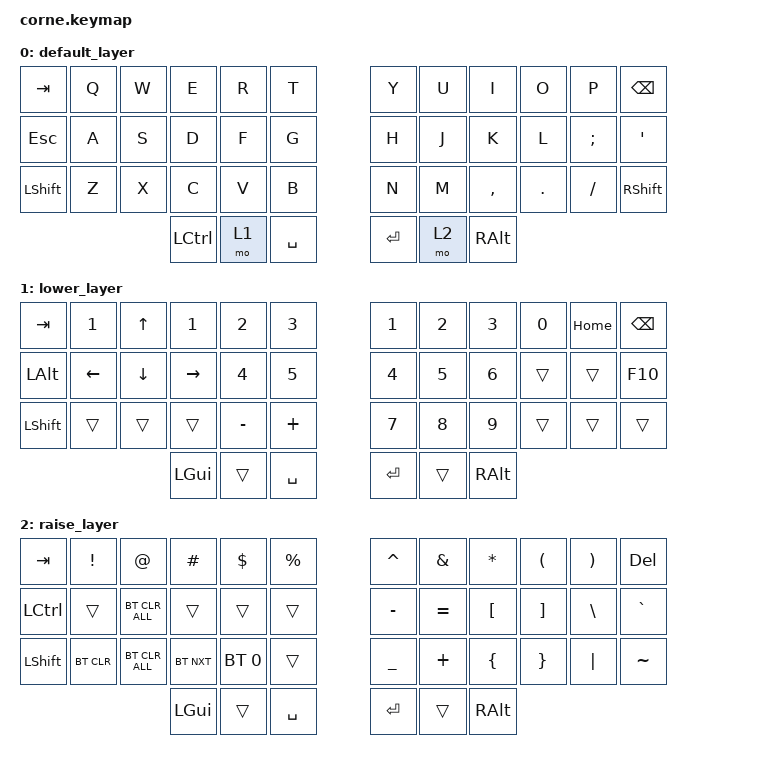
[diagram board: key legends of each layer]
/*
 * Copyright (c) 2020 The ZMK Contributors
 *
 * SPDX-License-Identifier: MIT
 */

#include <behaviors.dtsi>
#include <dt-bindings/zmk/bt.h>
#include <dt-bindings/zmk/keys.h>

/ {
    keymap {
        compatible = "zmk,keymap";

        default_layer {
            // -----------------------------------------------------------------------------------------
            // |  TAB |  Q  |  W  |  E  |  R  |  T  |   |  Y  |  U   |  I  |  O  |  P  | BSPC |
            // | CTRL |  A  |  S  |  D  |  F  |  G  |   |  H  |  J   |  K  |  L  |  ;  |  '   |
            // | SHFT |  Z  |  X  |  C  |  V  |  B  |   |  N  |  M   |  ,  |  .  |  /  | ESC  |
            //                    | GUI | LWR | SPC |   | ENT | RSE  | ALT |

            bindings = <
&kp TAB     &kp Q  &kp W  &kp E      &kp R  &kp T        &kp Y    &kp U  &kp I      &kp O    &kp P     &kp BSPC
&kp ESCAPE  &kp A  &kp S  &kp D      &kp F  &kp G        &kp H    &kp J  &kp K      &kp L    &kp SEMI  &kp SQT
&kp LSHFT   &kp Z  &kp X  &kp C      &kp V  &kp B        &kp N    &kp M  &kp COMMA  &kp DOT  &kp FSLH  &kp RSHIFT
                          &kp LCTRL  &mo 1  &kp SPACE    &kp RET  &mo 2  &kp RALT
            >;
        };

        lower_layer {
            // -----------------------------------------------------------------------------------------
            // |  TAB |  1  |  2  |  3  |  4  |  5  |   |  6  |  7  |  8  |  9  |  0  | BSPC |
            // | BTCLR| BT1 | BT2 | BT3 | BT4 | BT5 |   | LFT | DWN |  UP | RGT |     |      |
            // | SHFT |     |     |     |     |     |   |     |     |     |     |     |      |
            //                    | GUI |     | SPC |   | ENT |     | ALT |

            bindings = <
&kp TAB       &kp N1    &kp UP    &kp NUMBER_1  &kp NUMBER_2  &kp NUMBER_3    &kp NUMBER_1  &kp NUMBER_2  &kp NUMBER_3  &kp N0  &kp HOME  &kp BSPC
&kp LEFT_ALT  &kp LEFT  &kp DOWN  &kp RIGHT     &kp NUMBER_4  &kp N5          &kp NUMBER_4  &kp N5        &kp NUMBER_6  &trans  &trans    &kp F10
&kp LSHFT     &trans    &trans    &trans        &kp MINUS     &kp PLUS        &kp N7        &kp N8        &kp N9        &trans  &trans    &trans
                                  &kp LGUI      &trans        &kp SPACE       &kp RET       &trans        &kp RALT
            >;
        };

        raise_layer {
            // -----------------------------------------------------------------------------------------
            // |  TAB |  !  |  @  |  #  |  $  |  %  |   |  ^  |  &  |  *  |  (  |  )  | BSPC |
            // | CTRL |     |     |     |     |     |   |  -  |  =  |  [  |  ]  |  \  |  `   |
            // | SHFT |     |     |     |     |     |   |  _  |  +  |  {  |  }  | "|" |  ~   |
            //                    | GUI |     | SPC |   | ENT |     | ALT |

            bindings = <
&kp TAB    &kp EXCL    &kp AT          &kp HASH    &kp DLLR      &kp PRCNT    &kp CARET  &kp AMPS   &kp ASTRK  &kp LPAR  &kp RPAR  &kp DELETE
&kp LCTRL  &trans      &bt BT_CLR_ALL  &trans      &trans        &trans       &kp MINUS  &kp EQUAL  &kp LBKT   &kp RBKT  &kp BSLH  &kp GRAVE
&kp LSHFT  &bt BT_CLR  &bt BT_CLR_ALL  &bt BT_NXT  &bt BT_SEL 0  &trans       &kp UNDER  &kp PLUS   &kp LBRC   &kp RBRC  &kp PIPE  &kp TILDE
                                       &kp LGUI    &trans        &kp SPACE    &kp RET    &trans     &kp RALT
            >;
        };
    };
};
